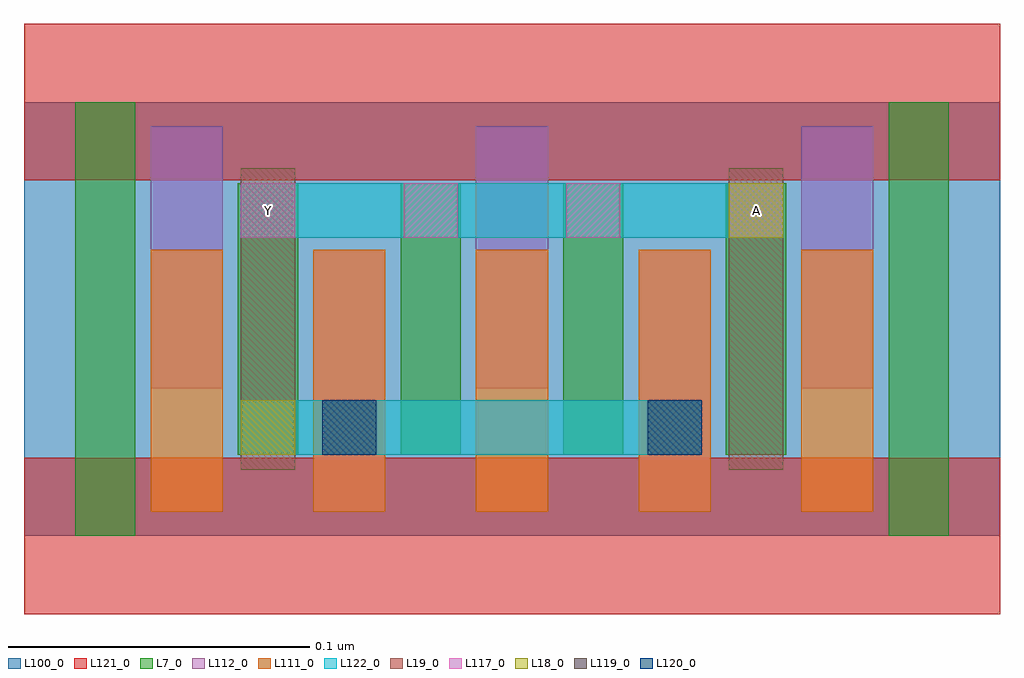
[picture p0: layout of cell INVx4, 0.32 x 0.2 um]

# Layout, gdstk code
import gdstk
lib = gdstk.Library(unit=1e-6, precision=2.5e-10)
def R(c, l, rs):  # rectangles x0, y0, x1, y1
    for r in rs: c.add(gdstk.rectangle(r[:2], r[2:], *l))
def A(c, l, x, y, w, h, nx, ny, dx, dy):  # array of equal rectangles
    R(c, l, [(x+i*dx, y+j*dy, x+i*dx+w, y+j*dy+h) for i in range(nx) for j in range(ny)])
L7_0 = (7, 0)
L18_0 = (18, 0)
L19_0 = (19, 0)
L100_0 = (100, 0)
L111_0 = (111, 0)
L112_0 = (112, 0)
L117_0 = (117, 0)
L119_0 = (119, 0)
L120_0 = (120, 0)
L121_0 = (121, 0)
L122_0 = (122, 0)

invx4 = lib.new_cell('INVx4')
A(invx4, L7_0, 0.071, 0.027, 0.02, 0.09, 4, 1, 0.054, 0)
R(invx4, L7_0, [(0.017,0,0.037,0.144), (0.287,0,0.307,0.144)])
R(invx4, L18_0, [(0.072,0.027,0.09,0.045), (0.234,0.099,0.252,0.117)])
R(invx4, L19_0, [(0.072,0.022,0.09,0.122), (0.234,0.022,0.252,0.122)])
R(invx4, L100_0, [(0,0,0.324,0.144)])
A(invx4, L111_0, 0.042, 0.008, 0.024, 0.087, 5, 1, 0.054, 0)
A(invx4, L112_0, 0.042, 0.049, 0.024, 0.087, 3, 1, 0.108, 0)
R(invx4, L112_0, [(0.096,0.008,0.12,0.095), (0.204,0.008,0.228,0.095)])
A(invx4, L117_0, 0.072, 0.099, 0.018, 0.018, 4, 1, 0.054, 0)
R(invx4, L119_0, [(0.099,0.027,0.117,0.045), (0.207,0.027,0.225,0.045)])
R(invx4, L120_0, [(0.099,0.027,0.117,0.045), (0.207,0.027,0.225,0.045)])
R(invx4, L121_0, [(0,-0.026,0.324,0.026), (0,0.118,0.324,0.17)])
R(invx4, L122_0, [(0.072,0.027,0.225,0.045), (0.072,0.099,0.252,0.117)])
invx4.add(gdstk.Label('Y', (0.081,0.108), layer=19, texttype=251))
invx4.add(gdstk.Label('A', (0.243,0.108), layer=19, texttype=251))

lib.write_gds('INVx4.gds')
